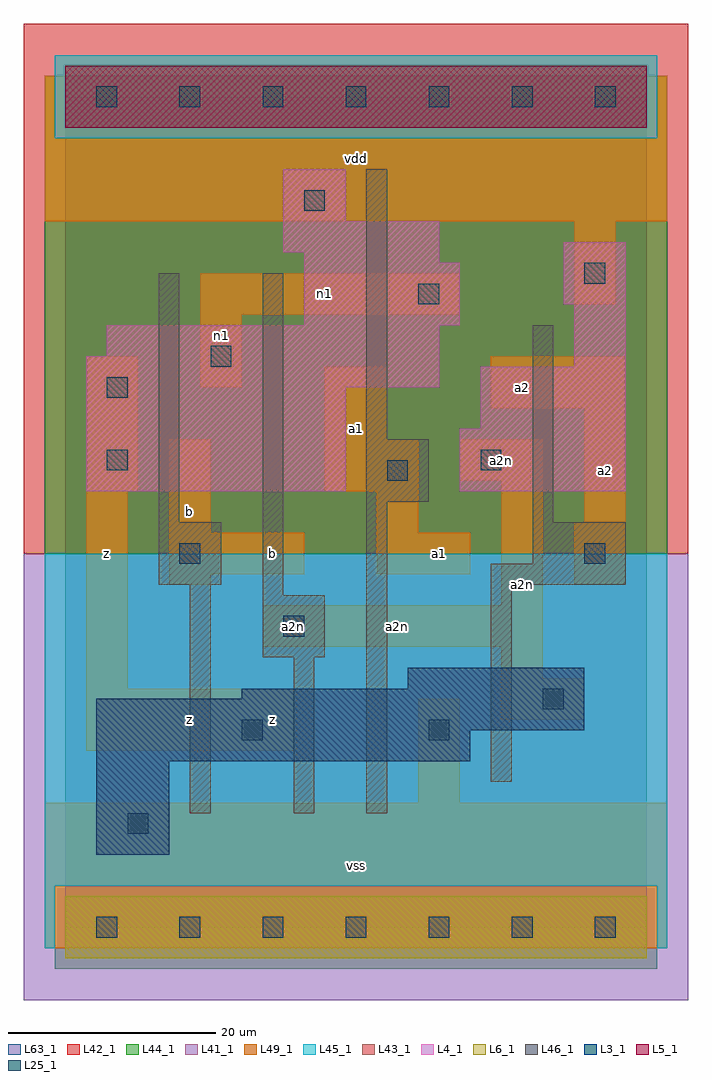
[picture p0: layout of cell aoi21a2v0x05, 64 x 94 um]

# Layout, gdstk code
import gdstk
lib = gdstk.Library(unit=1e-6, precision=1e-09)
def R(c, l, rs):  # rectangles x0, y0, x1, y1
    for r in rs: c.add(gdstk.rectangle(r[:2], r[2:], *l))
def A(c, l, x, y, w, h, nx, ny, dx, dy):  # array of equal rectangles
    R(c, l, [(x+i*dx, y+j*dy, x+i*dx+w, y+j*dy+h) for i in range(nx) for j in range(ny)])
L3_1 = (3, 1)
L4_1 = (4, 1)
L5_1 = (5, 1)
L6_1 = (6, 1)
L25_1 = (25, 1)
L41_1 = (41, 1)
L42_1 = (42, 1)
L43_1 = (43, 1)
L44_1 = (44, 1)
L45_1 = (45, 1)
L46_1 = (46, 1)
L49_1 = (49, 1)
L63_1 = (63, 1)

aoi21a2v0x05 = lib.new_cell('aoi21a2v0x05')
R(aoi21a2v0x05, L3_1, [(3,7,10,16), (3,16,39,19), (3,19,50,22), (17,22,50,23), (33,23,50,25)])
R(aoi21a2v0x05, L4_1, [(2,42,27,52), (38,42,54,48), (40,48,54,54), (2,52,36,55), (49,54,54,60), (4,55,36,58), (23,58,38,64), (48,60,54,66), (23,64,36,65), (21,65,36,68), (21,68,27,73)])
R(aoi21a2v0x05, L5_1, [(0,77,56,83)])
R(aoi21a2v0x05, L6_1, [(0,-3,56,3), (0,-3,56,3)])
A(aoi21a2v0x05, L25_1, 3, -1, 2, 2, 7, 2, 8, 80)
R(aoi21a2v0x05, L25_1, [(6,9,8,11), (17,18,19,20), (35,18,37,20), (46,21,48,23), (21,28,23,30), (11,35,13,37), (50,35,52,37), (31,43,33,45), (4,44,6,46), (40,44,42,46), (4,51,6,53), (14,54,16,56), (34,60,36,62), (50,62,52,64), (23,69,25,71)])
R(aoi21a2v0x05, L41_1, [(-4,-7,60,36)])
R(aoi21a2v0x05, L42_1, [(-4,36,60,87)])
R(aoi21a2v0x05, L43_1, [(0,-3,56,3), (3,7,10,16), (3,16,39,19), (3,19,50,22), (17,22,50,23), (33,23,50,25), (2,42,27,52), (38,42,54,48), (40,48,54,54), (2,52,36,55), (49,54,54,60), (4,55,36,58), (23,58,38,64), (48,60,54,66), (23,64,36,65), (21,65,36,68), (21,68,27,73), (0,77,56,83)])
R(aoi21a2v0x05, L44_1, [(-1,-4,57,4), (-2,36,58,76), (-2,76,-1,82), (57,76,58,82)])
R(aoi21a2v0x05, L45_1, [(-2,-2,-1,4), (57,-2,58,4), (-2,4,58,36), (-1,76,57,84)])
R(aoi21a2v0x05, L46_1, [(12,11,14,33), (22,11,24,26), (29,11,31,41), (41,14,43,33), (19,26,25,32), (19,32,21,63), (9,33,15,39), (41,33,54,35), (45,35,54,39), (9,39,11,63), (45,39,47,58), (29,41,35,47), (29,47,31,73)])
R(aoi21a2v0x05, L49_1, [(-2,-2,58,12), (34,12,38,22), (2,17,22,23), (42,20,50,24), (2,23,6,42), (42,24,46,27), (19,27,46,31), (42,31,46,43), (10,33,14,34), (49,33,54,39), (10,34,23,38), (30,34,39,38), (10,38,14,47), (30,38,34,42), (50,39,54,50), (2,42,7,55), (25,42,34,47), (38,43,46,47), (25,47,31,54), (41,50,54,55), (13,52,17,59), (13,59,38,63), (49,60,53,68), (-2,68,58,82)])
R(aoi21a2v0x05, L63_1, [(0,0,56,80)])
aoi21a2v0x05.add(gdstk.Label('a2n', (22,29), layer=49, texttype=1))
aoi21a2v0x05.add(gdstk.Label('z', (4,36), layer=49, texttype=1))
aoi21a2v0x05.add(gdstk.Label('z', (12,20), layer=49, texttype=1))
aoi21a2v0x05.add(gdstk.Label('b', (12,40), layer=49, texttype=1))
aoi21a2v0x05.add(gdstk.Label('n1', (15,57), layer=49, texttype=1))
aoi21a2v0x05.add(gdstk.Label('vss', (28,6), layer=49, texttype=1))
aoi21a2v0x05.add(gdstk.Label('z', (20,20), layer=49, texttype=1))
aoi21a2v0x05.add(gdstk.Label('b', (20,36), layer=49, texttype=1))
aoi21a2v0x05.add(gdstk.Label('a1', (28,48), layer=49, texttype=1))
aoi21a2v0x05.add(gdstk.Label('vdd', (28,74), layer=49, texttype=1))
aoi21a2v0x05.add(gdstk.Label('a2n', (44,33), layer=49, texttype=1))
aoi21a2v0x05.add(gdstk.Label('a2n', (32,29), layer=49, texttype=1))
aoi21a2v0x05.add(gdstk.Label('a1', (36,36), layer=49, texttype=1))
aoi21a2v0x05.add(gdstk.Label('a2n', (42,45), layer=49, texttype=1))
aoi21a2v0x05.add(gdstk.Label('a2', (44,52), layer=49, texttype=1))
aoi21a2v0x05.add(gdstk.Label('n1', (25,61), layer=49, texttype=1))
aoi21a2v0x05.add(gdstk.Label('a2', (52,44), layer=49, texttype=1))

lib.write_gds('aoi21a2v0x05.gds')
